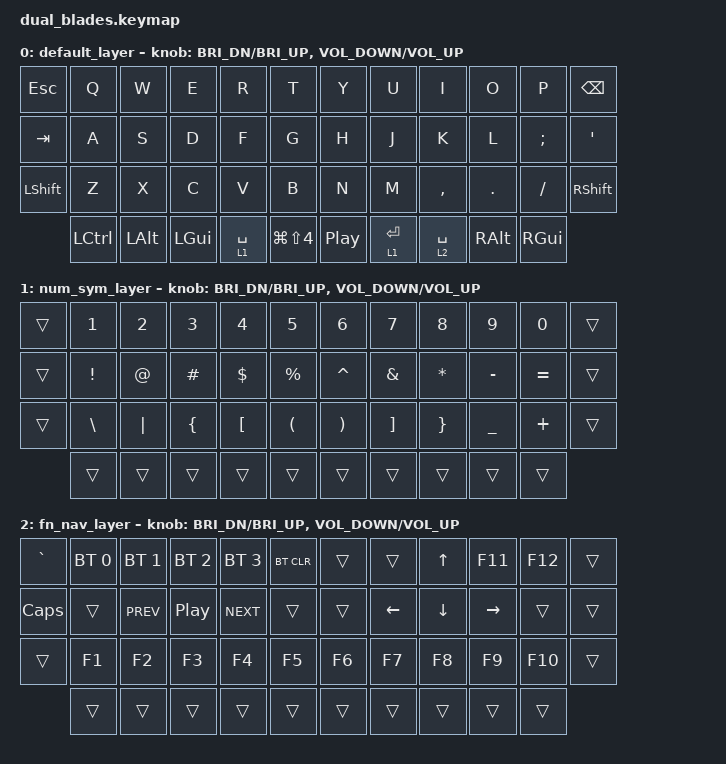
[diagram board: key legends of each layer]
#include <behaviors.dtsi>
#include <dt-bindings/zmk/keys.h>
#include <dt-bindings/zmk/bt.h>

/ {
    keymap {
        compatible = "zmk,keymap";

        default_layer {
            bindings = <
&kp ESC        &kp Q        &kp W        &kp E        &kp R        &kp T            &kp Y        &kp U        &kp I        &kp O        &kp P        &kp BSPC
&kp TAB        &kp A        &kp S        &kp D        &kp F        &kp G            &kp H        &kp J        &kp K        &kp L        &kp SEMI     &kp SQT
&kp LSHFT      &kp Z        &kp X        &kp C        &kp V        &kp B            &kp N        &kp M        &kp COMMA    &kp DOT      &kp FSLH     &kp RSHFT
               &kp LCTRL    &kp LALT     &kp LGUI     &lt 1 SPACE  &kp LG(LS(N4))   &kp C_PP     &lt 1 RET    &lt 2 SPACE  &kp RALT     &kp RGUI
            >;

            sensor-bindings = <
                &inc_dec_kp C_BRI_DN C_BRI_UP
                &inc_dec_kp C_VOLUME_DOWN C_VOLUME_UP
            >;
        };

        num_sym_layer {
            bindings = <
&trans         &kp N1       &kp N2       &kp N3       &kp N4       &kp N5           &kp N6       &kp N7       &kp N8       &kp N9       &kp N0       &trans
&trans         &kp EXCL     &kp AT       &kp HASH     &kp DLLR     &kp PRCNT        &kp CARET    &kp AMPS     &kp ASTRK    &kp MINUS    &kp EQUAL    &trans
&trans         &kp BSLH     &kp PIPE     &kp LBRC     &kp LBKT     &kp LPAR         &kp RPAR     &kp RBKT     &kp RBRC     &kp UNDER    &kp PLUS     &trans
               &trans       &trans       &trans       &trans       &trans           &trans       &trans       &trans       &trans       &trans
            >;

            sensor-bindings = <
                &inc_dec_kp C_BRI_DN C_BRI_UP
                &inc_dec_kp C_VOLUME_DOWN C_VOLUME_UP
            >;
        };

        fn_nav_layer {
            bindings = <
&kp GRAVE      &bt BT_SEL 0 &bt BT_SEL 1 &bt BT_SEL 2 &bt BT_SEL 3 &bt BT_CLR       &trans       &trans       &kp UP       &kp F11      &kp F12      &trans
&kp CAPS       &trans       &kp C_PREV   &kp C_PP     &kp C_NEXT   &trans           &trans       &kp LEFT     &kp DOWN     &kp RIGHT    &trans       &trans
&trans         &kp F1       &kp F2       &kp F3       &kp F4       &kp F5           &kp F6       &kp F7       &kp F8       &kp F9       &kp F10      &trans
               &trans       &trans       &trans       &trans       &trans           &trans       &trans       &trans       &trans       &trans
            >;

            sensor-bindings = <
                &inc_dec_kp C_BRI_DN C_BRI_UP
                &inc_dec_kp C_VOLUME_DOWN C_VOLUME_UP
            >;
        };
    };
};
